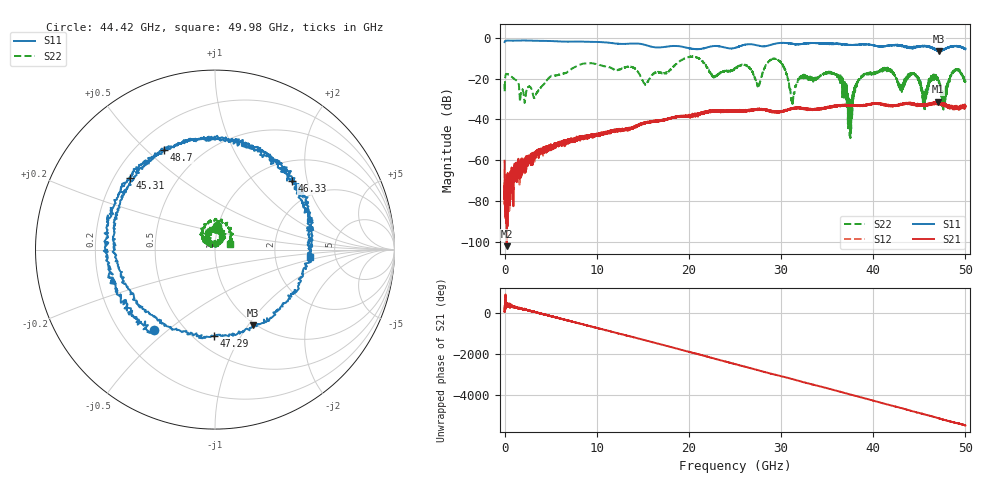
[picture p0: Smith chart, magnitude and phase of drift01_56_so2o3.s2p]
!Created with skrf (http://scikit-rf.org).
# Hz S RI R 50.0
!freq ReS11 ImS11 ReS21 ImS21 ReS12 ImS12 ReS22 ImS22
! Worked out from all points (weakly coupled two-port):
!   10001 points, 300 kHz to 50 GHz, reference 50 ohm
!   highest |S21| = -31.35 dB at 47 GHz (marker M1); lowest = -102.0 dB at 230.3 MHz (marker M2)
!   lowest |S11| = -6.5 dB at 47.12 GHz (marker M3), VSWR 2.80, Z = 48.6 - j52.9 ohm
!   |S11| at or under -10 dB: nowhere
!   |S22| runs from -49.2 to -9.2 dB; largest |S21 - S12| = 0.0038
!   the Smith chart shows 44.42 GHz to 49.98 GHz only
!   S11 on the Smith chart (normalised r, x): 44.42 GHz: 0.34, -0.45; 45.31 GHz: 0.27, +0.34; 46.33 GHz: 1.42, +1.61; 47.29 GHz: 0.62, -0.78; 48.7 GHz: 0.31, +0.57; 49.98 GHz: 3.21, -0.34
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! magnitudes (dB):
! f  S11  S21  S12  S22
! 300 kHz  -2.2  -60.2  -64.7  -22.7
! 230.3 MHz  -1.4  -102.0  -79.8  -17.7
! 3.29 GHz  -1.5  -56.8  -57.0  -28.9
! 8.335 GHz  -1.9  -48.9  -48.7  -12.9
! 16.67 GHz  -4.8  -41.0  -40.7  -16.7
! 25 GHz  -5.0  -35.6  -36.1  -15.3
! 29.58 GHz  -2.8  -36.2  -36.3  -10.6
! 31.24 GHz  -2.9  -34.5  -34.5  -32.4
! 33.34 GHz  -2.6  -35.0  -35.0  -19.7
! 36.08 GHz  -2.9  -33.5  -33.5  -18.4
! 37.47 GHz  -3.6  -33.2  -33.2  -36.6
! 38.66 GHz  -3.3  -33.3  -33.1  -19.7
! 41.67 GHz  -3.8  -33.4  -33.2  -16.1
! 44.42 GHz  -5.0  -32.5  -32.4  -17.5
! 45.31 GHz  -4.2  -32.8  -32.8  -25.6
! 46.33 GHz  -4.8  -32.4  -32.5  -19.2
! 47 GHz  -6.3  -31.4  -32.1  -20.1
! 47.12 GHz  -6.5  -31.8  -31.9  -21.5
! 47.29 GHz  -6.4  -31.6  -32.3  -23.8
! 48.7 GHz  -4.1  -34.2  -34.0  -16.4
! 49.98 GHz  -5.5  -33.2  -33.5  -21.2
! 50 GHz  -5.4  -34.1  -33.7  -21.0
